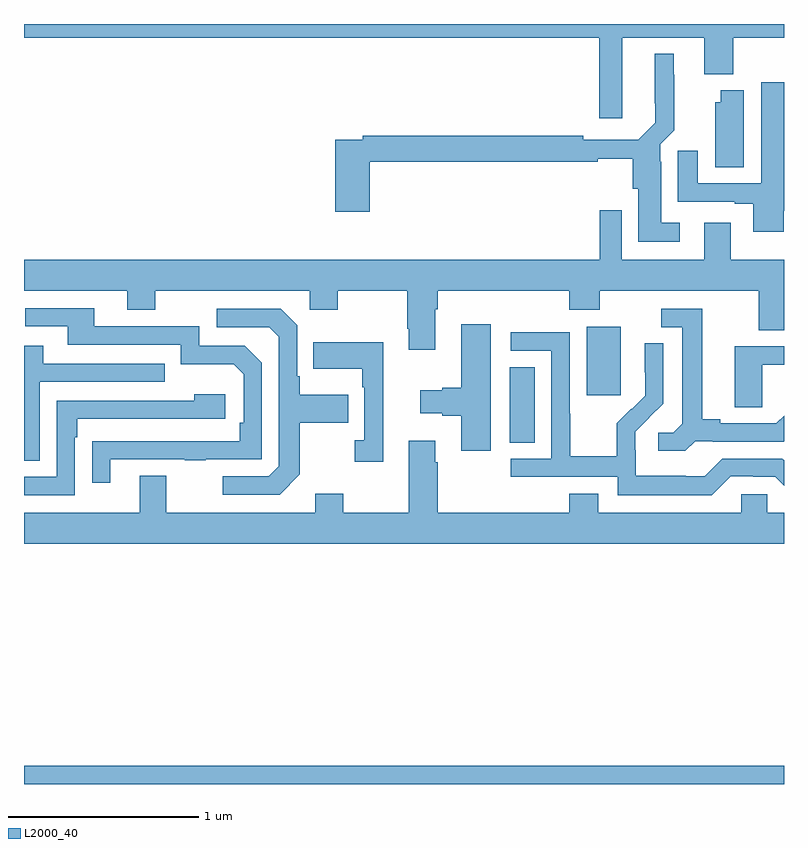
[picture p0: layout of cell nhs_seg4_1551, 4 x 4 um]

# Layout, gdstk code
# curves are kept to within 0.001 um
import gdstk
lib = gdstk.Library(unit=1e-6, precision=1e-09)
def R(c, l, rs):  # rectangles x0, y0, x1, y1
    for r in rs: c.add(gdstk.rectangle(r[:2], r[2:], *l))
def P(c, l, *ps):  # polygons
    for p in ps: c.add(gdstk.Polygon(p, *l))
L2000_40 = (2000, 40)

nhs_seg4_1551 = lib.new_cell('nhs_seg4_1551')
R(nhs_seg4_1551, L2000_40, [(191,784.9,195,784.996), (193.556,786.697,193.687,787.094), (193.961,786.945,194.14,787.306)])
P(nhs_seg4_1551, L2000_40, [(194.149,788.828),(194.579,788.828),(194.579,788.636),(194.732,788.636),(194.732,788.828),(195,788.828),(195,788.9),(191,788.9),(191,788.828),(194.027,788.828),(194.027,788.403),(194.149,788.403)],
  [(194.452,787.855),(194.353,787.855),(194.353,788.174),(194.349,788.174),(194.349,788.268),(194.423,788.342),(194.423,788.633),(194.419,788.633),(194.419,788.743),(194.321,788.743),(194.322,788.38),(194.234,788.292),(193.943,788.292),(193.943,788.312),(192.784,788.312),(192.784,788.292),(192.638,788.292),(192.638,787.911),(192.821,787.911),(192.821,788.176),(194.02,788.176),(194.02,788.191),(194.204,788.191),(194.204,788.034),(194.234,788.034),(194.234,787.754),(194.452,787.754)],
  [(194.998,787.918),(195,787.918),(195,788.593),(194.879,788.593),(194.879,788.061),(194.545,788.061),(194.545,788.233),(194.441,788.233),(194.441,787.965),(194.741,787.965),(194.741,787.953),(194.837,787.953),(194.837,787.806),(194.998,787.806)],
  [(194.788,788.551),(194.666,788.551),(194.666,788.487),(194.639,788.487),(194.639,788.146),(194.788,788.146)],
  [(193.165,787.4),(193.178,787.4),(193.178,787.496),(193.871,787.496),(193.871,787.397),(194.031,787.397),(194.031,787.496),(194.867,787.496),(194.867,787.288),(195,787.288),(195,787.66),(194.719,787.66),(194.719,787.855),(194.579,787.855),(194.579,787.66),(194.145,787.66),(194.145,787.921),(194.029,787.921),(194.029,787.66),(191,787.66),(191,787.496),(191.543,787.496),(191.543,787.397),(191.691,787.397),(191.691,787.496),(192.504,787.496),(192.504,787.397),(192.651,787.397),(192.651,787.496),(193.018,787.496),(193.018,787.297),(193.025,787.297),(193.025,787.185),(193.165,787.185)],
  [(191.455,786.609),(191.845,786.609),(191.845,786.604),(191.957,786.604),(191.957,786.609),(192.252,786.609),(192.252,787.116),(192.162,787.206),(191.922,787.206),(191.922,787.308),(191.371,787.308),(191.371,787.404),(191.007,787.404),(191.007,787.308),(191.231,787.308),(191.231,787.212),(191.826,787.212),(191.826,787.109),(192.103,787.109),(192.156,787.056),(192.156,786.802),(192.136,786.802),(192.136,786.705),(191.359,786.704),(191.359,786.486),(191.455,786.486)],
  [(192.451,786.529),(192.451,786.802),(192.707,786.802),(192.707,786.949),(192.451,786.949),(192.451,787.045),(192.438,787.045),(192.438,787.314),(192.351,787.401),(192.015,787.401),(192.015,787.305),(192.291,787.305),(192.342,787.254),(192.342,786.573),(192.288,786.519),(192.045,786.519),(192.045,786.423),(192.345,786.423)],
  [(194.532,786.705),(194.626,786.705),(194.626,786.702),(194.998,786.702),(195,786.704),(195,786.838),(194.96,786.798),(194.665,786.798),(194.665,786.821),(194.569,786.821),(194.569,787.401),(194.355,787.401),(194.355,787.305),(194.465,787.305),(194.465,786.797),(194.418,786.75),(194.337,786.75),(194.337,786.653),(194.48,786.653)],
  [(193.456,787.321),(193.301,787.321),(193.301,786.986),(193.202,786.986),(193.202,786.973),(193.086,786.973),(193.086,786.851),(193.202,786.851),(193.202,786.839),(193.301,786.839),(193.301,786.654),(193.456,786.654)],
  [(194.721,786.519),(194.837,786.519),(194.837,786.516),(194.955,786.516),(195,786.471),(195,786.603),(194.991,786.612),(194.676,786.612),(194.583,786.519),(194.483,786.519),(194.483,786.523),(194.22,786.523),(194.22,786.657),(194.218,786.657),(194.218,786.754),(194.364,786.902),(194.364,787.22),(194.268,787.22),(194.268,787.066),(194.27,787.066),(194.27,786.944),(194.199,786.873),(194.196,786.876),(194.119,786.799),(194.119,786.625),(193.875,786.625),(193.875,786.848),(193.872,786.848),(193.872,787.278),(193.563,787.278),(193.563,787.179),(193.776,787.179),(193.776,786.612),(193.563,786.612),(193.563,786.516),(194.124,786.516),(194.124,786.419),(194.621,786.419)],
  [(192.89,787.225),(192.523,787.225),(192.523,787.085),(192.78,787.085),(192.78,786.989),(192.792,786.989),(192.792,786.71),(192.741,786.71),(192.741,786.597),(192.89,786.597)],
  [(191.082,787.017),(191.741,787.017),(191.741,787.113),(191.101,787.113),(191.101,787.207),(191,787.207),(191,786.601),(191.082,786.601)],
  [(194.886,787.107),(195,787.107),(195,787.203),(194.741,787.203),(194.741,786.883),(194.886,786.883)],
  [(191.268,786.725),(191.281,786.725),(191.281,786.822),(192.058,786.822),(192.058,786.952),(191.897,786.952),(191.897,786.918),(191.172,786.918),(191.172,786.516),(191,786.516),(191,786.42),(191.268,786.42)],
  [(195,786.328),(194.913,786.328),(194.913,786.426),(194.775,786.426),(194.775,786.328),(194.023,786.328),(194.023,786.427),(193.871,786.427),(193.871,786.328),(193.178,786.328),(193.178,786.593),(193.165,786.593),(193.165,786.706),(193.025,786.706),(193.025,786.328),(192.681,786.328),(192.681,786.427),(192.533,786.427),(192.533,786.328),(191.749,786.328),(191.749,786.523),(191.609,786.523),(191.609,786.328),(191,786.328),(191,786.164),(195,786.164)])

lib.write_gds('nhs_seg4_1551.gds')
